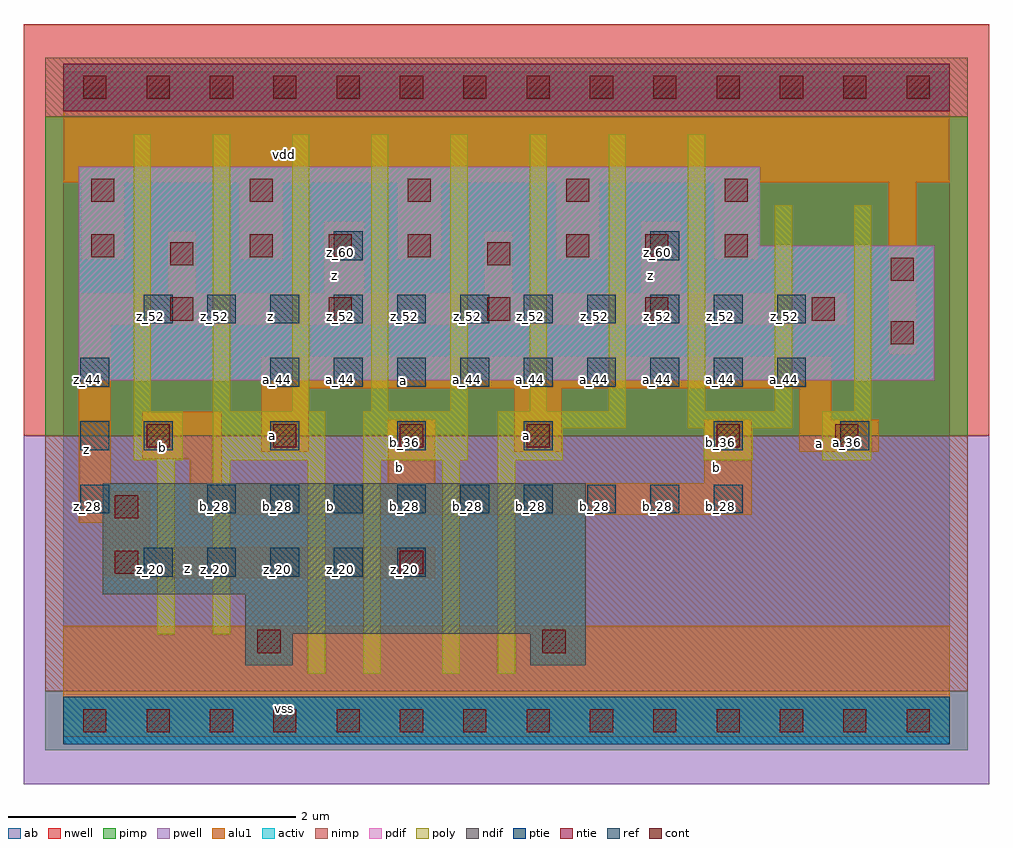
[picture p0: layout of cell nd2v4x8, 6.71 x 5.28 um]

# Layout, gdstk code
import gdstk
lib = gdstk.Library(unit=1e-6, precision=2.5e-09)
def R(c, l, rs):  # rectangles x0, y0, x1, y1
    for r in rs: c.add(gdstk.rectangle(r[:2], r[2:], *l))
def A(c, l, x, y, w, h, nx, ny, dx, dy):  # array of equal rectangles
    R(c, l, [(x+i*dx, y+j*dy, x+i*dx+w, y+j*dy+h) for i in range(nx) for j in range(ny)])
ndif = (3, 0)
pdif = (4, 0)
ntie = (5, 0)
ptie = (6, 0)
ref = (24, 0)
cont = (25, 0)
pwell = (41, 0)
nwell = (42, 0)
activ = (43, 0)
pimp = (44, 0)
nimp = (45, 0)
poly = (46, 0)
alu1 = (49, 0)
ab = (63, 0)

nd2v4x8 = lib.new_cell('nd2v4x8')
R(nd2v4x8, ndif, [(1.265,0.385,1.595,0.605), (3.245,0.385,3.63,0.605), (1.265,0.605,3.63,0.88), (0.275,0.88,3.63,1.65)])
R(nd2v4x8, pdif, [(0.11,2.365,6.05,3.3), (0.11,3.3,4.84,3.85)])
R(nd2v4x8, ntie, [(0,4.235,6.16,4.565)])
R(nd2v4x8, ptie, [(0,-0.165,6.16,0.165)])
A(nd2v4x8, ref, 0.56, 1, 0.2, 0.2, 5, 1, 0.44, 0)
A(nd2v4x8, ref, 0.12, 1.44, 0.2, 0.2, 1, 3, 0, 0.44)
A(nd2v4x8, ref, 1, 1.44, 0.2, 0.2, 9, 1, 0.44, 0)
A(nd2v4x8, ref, 0.56, 1.88, 0.2, 0.2, 4, 1, 0.88, 0)
A(nd2v4x8, ref, 1.44, 2.32, 0.2, 0.2, 9, 1, 0.44, 0)
A(nd2v4x8, ref, 0.56, 2.76, 0.2, 0.2, 11, 1, 0.44, 0)
R(nd2v4x8, ref, [(4.52,1.88,4.72,2.08), (5.4,1.88,5.6,2.08), (1.88,3.2,2.08,3.4), (4.08,3.2,4.28,3.4)])
A(nd2v4x8, cont, 0.14, -0.08, 0.16, 0.16, 14, 2, 0.44, 4.4)
A(nd2v4x8, cont, 0.58, 1.9, 0.16, 0.16, 4, 1, 0.88, 0)
A(nd2v4x8, cont, 0.745, 2.78, 0.16, 0.16, 4, 1, 1.1, 0)
A(nd2v4x8, cont, 1.295, 3.22, 0.16, 0.16, 3, 1, 0.55, 0)
A(nd2v4x8, cont, 3.495, 3.22, 0.16, 0.16, 3, 1, 0.55, 0)
A(nd2v4x8, cont, 0.195, 3.605, 0.16, 0.16, 5, 1, 1.1, 0)
R(nd2v4x8, cont, [(1.35,0.47,1.51,0.63), (3.33,0.47,3.49,0.63), (0.36,1.02,0.52,1.18), (2.34,1.02,2.5,1.18), (0.36,1.405,0.52,1.565), (4.54,1.9,4.7,2.06), (5.365,1.9,5.525,2.06), (5.75,2.615,5.91,2.775), (5.2,2.78,5.36,2.94), (5.75,3.055,5.91,3.215), (0.745,3.165,0.905,3.325), (2.945,3.165,3.105,3.325), (0.195,3.22,0.355,3.38)])
R(nd2v4x8, pwell, [(-0.275,-0.44,6.435,1.98)])
R(nd2v4x8, nwell, [(-0.275,1.98,6.435,4.84)])
R(nd2v4x8, activ, [(0,-0.165,6.16,0.165), (1.265,0.385,1.595,0.605), (3.245,0.385,3.63,0.605), (1.265,0.605,3.63,0.88), (0.275,0.88,3.63,1.65), (0.11,2.365,6.05,3.3), (0.11,3.3,4.84,3.85), (0,4.235,6.16,4.565)])
R(nd2v4x8, pimp, [(-0.125,-0.205,6.285,0.205), (-0.125,1.98,6.285,4.195)])
R(nd2v4x8, nimp, [(-0.125,0.205,6.285,1.98), (-0.125,4.195,6.285,4.605)])
A(nd2v4x8, poly, 0.49, 2.15, 0.12, 1.925, 8, 1, 0.55, 0)
R(nd2v4x8, poly, [(1.7,0.325,1.82,1.81), (2.085,0.325,2.205,1.81), (2.635,0.325,2.755,1.81), (3.02,0.325,3.14,1.81), (0.655,0.6,0.775,1.81), (1.04,0.6,1.16,1.81), (0.49,1.81,0.83,2.15), (1.04,1.81,1.82,2.15), (2.085,1.81,2.81,2.15), (3.02,1.81,3.47,2.03), (4.45,1.81,4.79,2.03), (5.275,1.81,5.615,2.15), (3.02,2.03,3.91,2.15), (4.34,2.03,5.065,2.15), (4.945,2.15,5.065,3.58), (5.495,2.15,5.615,3.58)])
A(nd2v4x8, alu1, 0.125, 3.205, 0.3, 0.535, 5, 1, 1.1, 0)
R(nd2v4x8, alu1, [(0,-0.11,6.16,0.66), (0.385,0.99,2.585,1.005), (0.29,1.005,2.585,1.21), (0.29,1.21,0.605,1.375), (0.11,1.375,0.605,1.595), (0.88,1.43,4.785,1.65), (0.11,1.595,0.33,2.75), (0.88,1.65,1.1,1.815), (2.255,1.65,2.585,2.09), (4.455,1.65,4.785,2.09), (0.55,1.815,1.1,2.145), (1.375,1.87,1.705,2.31), (3.135,1.87,3.465,2.31), (5.115,1.87,5.665,2.09), (5.115,2.09,5.335,2.31), (1.375,2.31,5.335,2.53), (5.735,2.545,5.925,3.74), (0.11,2.75,5.445,2.97), (0.73,2.97,0.92,3.395), (1.815,2.97,2.09,3.465), (2.93,2.97,3.12,3.395), (4.015,2.97,4.29,3.465), (0,3.74,6.16,4.51)])
R(nd2v4x8, ab, [(0,0,6.16,4.4)])
nd2v4x8.add(gdstk.Label('vss', (1.54,0.0825), layer=49, texttype=0))
nd2v4x8.add(gdstk.Label('z', (0.8625,1.055), layer=49, texttype=0))
nd2v4x8.add(gdstk.Label('b', (1.855,1.485), layer=49, texttype=0))
nd2v4x8.add(gdstk.Label('a', (5.2525,1.925), layer=49, texttype=0))
nd2v4x8.add(gdstk.Label('b', (4.5375,1.76), layer=49, texttype=0))
nd2v4x8.add(gdstk.Label('a', (3.2175,1.98), layer=49, texttype=0))
nd2v4x8.add(gdstk.Label('b', (2.3375,1.76), layer=49, texttype=0))
nd2v4x8.add(gdstk.Label('a', (1.4575,1.98), layer=49, texttype=0))
nd2v4x8.add(gdstk.Label('b', (0.6875,1.8975), layer=49, texttype=0))
nd2v4x8.add(gdstk.Label('a', (2.365,2.365), layer=49, texttype=0))
nd2v4x8.add(gdstk.Label('z', (0.165,1.8825), layer=49, texttype=0))
nd2v4x8.add(gdstk.Label('z', (1.4425,2.805), layer=49, texttype=0))
nd2v4x8.add(gdstk.Label('z', (4.0825,3.0925), layer=49, texttype=0))
nd2v4x8.add(gdstk.Label('z', (1.8825,3.0925), layer=49, texttype=0))
nd2v4x8.add(gdstk.Label('vdd', (1.54,3.9325), layer=49, texttype=0))
nd2v4x8.add(gdstk.Label('a_36', (5.45,1.93), layer=24, texttype=0))
nd2v4x8.add(gdstk.Label('z_20', (0.61,1.05), layer=24, texttype=0))
nd2v4x8.add(gdstk.Label('b_36', (0.61,1.93), layer=24, texttype=0))
nd2v4x8.add(gdstk.Label('z_52', (0.61,2.81), layer=24, texttype=0))
nd2v4x8.add(gdstk.Label('z_20', (1.05,1.05), layer=24, texttype=0))
nd2v4x8.add(gdstk.Label('b_28', (1.05,1.49), layer=24, texttype=0))
nd2v4x8.add(gdstk.Label('z_52', (1.05,2.81), layer=24, texttype=0))
nd2v4x8.add(gdstk.Label('z_20', (1.49,1.05), layer=24, texttype=0))
nd2v4x8.add(gdstk.Label('b_28', (1.49,1.49), layer=24, texttype=0))
nd2v4x8.add(gdstk.Label('a_36', (1.49,1.93), layer=24, texttype=0))
nd2v4x8.add(gdstk.Label('a_44', (1.49,2.37), layer=24, texttype=0))
nd2v4x8.add(gdstk.Label('z_52', (1.49,2.81), layer=24, texttype=0))
nd2v4x8.add(gdstk.Label('z_20', (1.93,1.05), layer=24, texttype=0))
nd2v4x8.add(gdstk.Label('b_28', (1.93,1.49), layer=24, texttype=0))
nd2v4x8.add(gdstk.Label('a_44', (1.93,2.37), layer=24, texttype=0))
nd2v4x8.add(gdstk.Label('z_52', (1.93,2.81), layer=24, texttype=0))
nd2v4x8.add(gdstk.Label('z_60', (1.93,3.25), layer=24, texttype=0))
nd2v4x8.add(gdstk.Label('z_28', (0.17,1.49), layer=24, texttype=0))
nd2v4x8.add(gdstk.Label('z_36', (0.17,1.93), layer=24, texttype=0))
nd2v4x8.add(gdstk.Label('z_44', (0.17,2.37), layer=24, texttype=0))
nd2v4x8.add(gdstk.Label('z_20', (2.37,1.05), layer=24, texttype=0))
nd2v4x8.add(gdstk.Label('b_28', (2.37,1.49), layer=24, texttype=0))
nd2v4x8.add(gdstk.Label('b_36', (2.37,1.93), layer=24, texttype=0))
nd2v4x8.add(gdstk.Label('a_44', (2.37,2.37), layer=24, texttype=0))
nd2v4x8.add(gdstk.Label('z_52', (2.37,2.81), layer=24, texttype=0))
nd2v4x8.add(gdstk.Label('b_28', (2.81,1.49), layer=24, texttype=0))
nd2v4x8.add(gdstk.Label('a_44', (2.81,2.37), layer=24, texttype=0))
nd2v4x8.add(gdstk.Label('z_52', (2.81,2.81), layer=24, texttype=0))
nd2v4x8.add(gdstk.Label('b_28', (3.25,1.49), layer=24, texttype=0))
nd2v4x8.add(gdstk.Label('a_36', (3.25,1.93), layer=24, texttype=0))
nd2v4x8.add(gdstk.Label('a_44', (3.25,2.37), layer=24, texttype=0))
nd2v4x8.add(gdstk.Label('z_52', (3.25,2.81), layer=24, texttype=0))
nd2v4x8.add(gdstk.Label('b_28', (3.69,1.49), layer=24, texttype=0))
nd2v4x8.add(gdstk.Label('a_44', (3.69,2.37), layer=24, texttype=0))
nd2v4x8.add(gdstk.Label('z_52', (3.69,2.81), layer=24, texttype=0))
nd2v4x8.add(gdstk.Label('b_28', (4.13,1.49), layer=24, texttype=0))
nd2v4x8.add(gdstk.Label('a_44', (4.13,2.37), layer=24, texttype=0))
nd2v4x8.add(gdstk.Label('z_52', (4.13,2.81), layer=24, texttype=0))
nd2v4x8.add(gdstk.Label('z_60', (4.13,3.25), layer=24, texttype=0))
nd2v4x8.add(gdstk.Label('b_28', (4.57,1.49), layer=24, texttype=0))
nd2v4x8.add(gdstk.Label('b_36', (4.57,1.93), layer=24, texttype=0))
nd2v4x8.add(gdstk.Label('a_44', (4.57,2.37), layer=24, texttype=0))
nd2v4x8.add(gdstk.Label('z_52', (4.57,2.81), layer=24, texttype=0))
nd2v4x8.add(gdstk.Label('a_44', (5.01,2.37), layer=24, texttype=0))
nd2v4x8.add(gdstk.Label('z_52', (5.01,2.81), layer=24, texttype=0))

lib.write_gds('nd2v4x8.gds')
